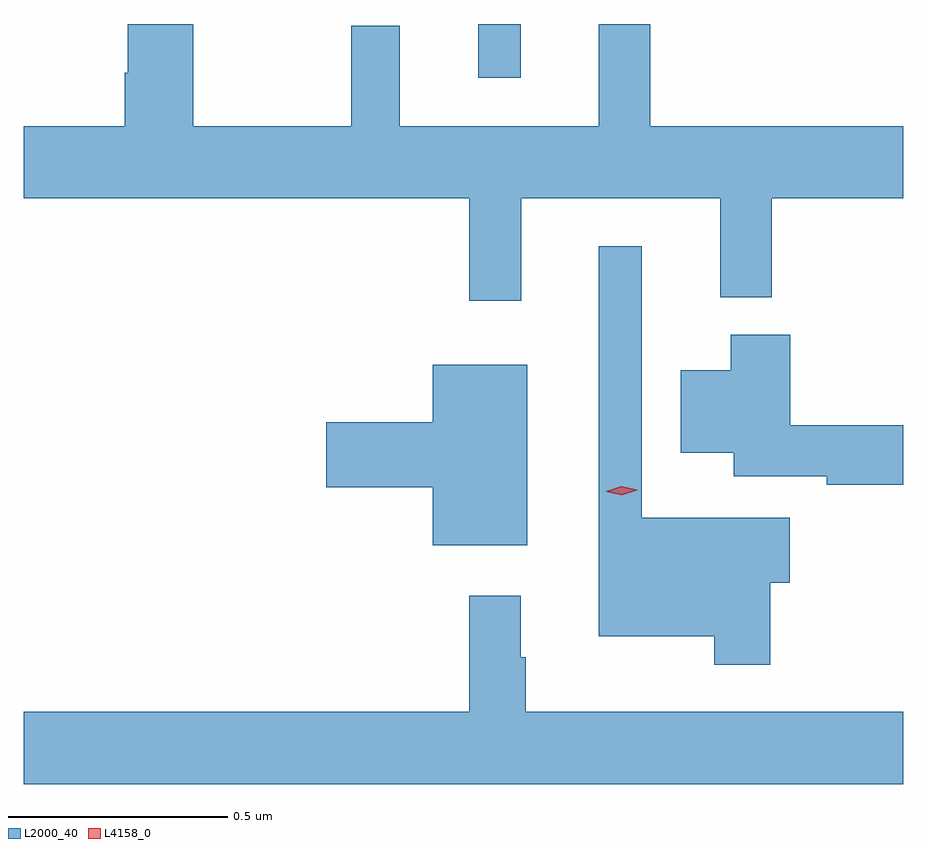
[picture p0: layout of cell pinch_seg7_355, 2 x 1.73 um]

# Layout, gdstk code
import gdstk
lib = gdstk.Library(unit=1e-6, precision=1e-09)
def R(c, l, rs):  # rectangles x0, y0, x1, y1
    for r in rs: c.add(gdstk.rectangle(r[:2], r[2:], *l))
def P(c, l, *ps):  # polygons
    for p in ps: c.add(gdstk.Polygon(p, *l))
L2000_40 = (2000, 40)
L4158_0 = (4158, 0)

pinch_seg7_355 = lib.new_cell('pinch_seg7_355')
R(pinch_seg7_355, L2000_40, [(426.309,1006.218,426.406,1006.34)])
P(pinch_seg7_355, L2000_40, [(426.131,1006.336),(426.021,1006.336),(426.021,1006.108),(425.661,1006.108),(425.661,1006.34),(425.513,1006.34),(425.513,1006.229),(425.506,1006.229),(425.506,1006.108),(425.276,1006.108),(425.276,1005.944),(426.289,1005.944),(426.289,1005.711),(426.407,1005.711),(426.407,1005.944),(426.86,1005.944),(426.86,1005.719),(426.977,1005.719),(426.977,1005.944),(427.276,1005.944),(427.276,1006.108),(426.701,1006.108),(426.701,1006.34),(426.584,1006.34),(426.584,1006.108),(426.131,1006.108)],
  [(426.974,1005.07),(427.018,1005.07),(427.018,1005.217),(426.681,1005.217),(426.681,1005.835),(426.584,1005.835),(426.584,1004.948),(426.846,1004.948),(426.846,1004.883),(426.974,1004.883)],
  [(427.276,1005.428),(427.019,1005.428),(427.019,1005.634),(426.884,1005.634),(426.884,1005.553),(426.77,1005.553),(426.77,1005.365),(426.89,1005.365),(426.89,1005.312),(427.102,1005.312),(427.102,1005.292),(427.276,1005.292)],
  [(426.421,1005.565),(426.206,1005.565),(426.206,1005.434),(425.964,1005.434),(425.964,1005.287),(426.206,1005.287),(426.206,1005.155),(426.421,1005.155)],
  [(427.276,1004.776),(426.418,1004.776),(426.418,1004.9),(426.406,1004.9),(426.406,1005.04),(426.289,1005.04),(426.289,1004.776),(425.276,1004.776),(425.276,1004.612),(427.276,1004.612)])
P(pinch_seg7_355, L4158_0, [(426.636,1005.269),(426.6,1005.277),(426.6,1005.277),(426.6,1005.278),(426.635,1005.289),(426.671,1005.281),(426.671,1005.281),(426.671,1005.28)])

lib.write_gds('pinch_seg7_355.gds')
